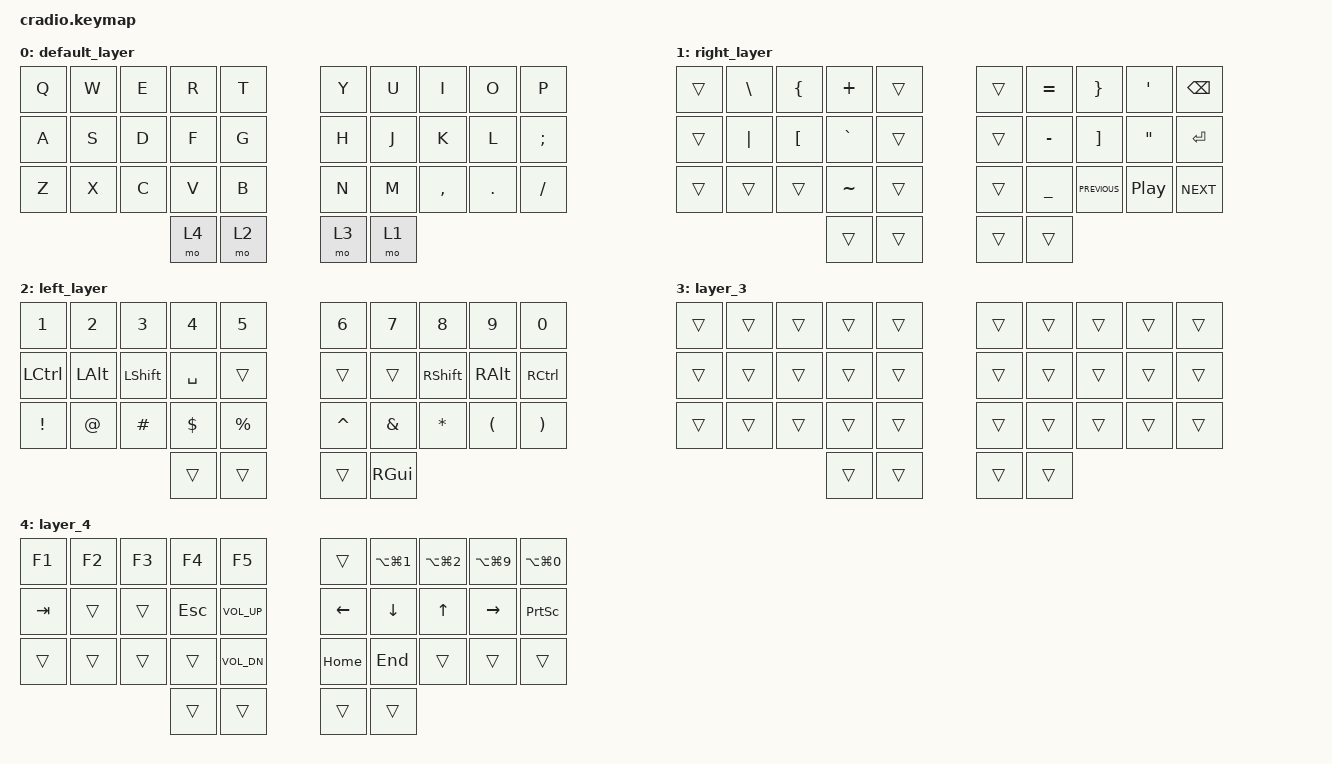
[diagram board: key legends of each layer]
// Copyright (c) 2022 The ZMK Contributors
// SPDX-License-Identifier: MIT

#include <behaviors.dtsi>
#include <dt-bindings/zmk/keys.h>

/ {
    behaviors {
        ht: hold_tap {
            label = "hold_tap";
            compatible = "zmk,behavior-hold-tap";
            #binding-cells = <2>;
            flavor = "hold-preferred";
            tapping-term-ms = <220>;
            quick-tap-ms = <150>;
            global-quick-tap;
            bindings = <&kp>, <&kp>;
        };
    };

    conditional_layers {
        compatible = "zmk,conditional-layers";

        tri_layer {
            if-layers = <1 2>;
            then-layer = <3>;
        };
    };

    keymap {
        compatible = "zmk,keymap";

        default_layer {
            bindings = <
&kp Q  &kp W  &kp E  &kp R  &kp T    &kp Y  &kp U  &kp I      &kp O    &kp P
&kp A  &kp S  &kp D  &kp F  &kp G    &kp H  &kp J  &kp K      &kp L    &kp SEMICOLON
&kp Z  &kp X  &kp C  &kp V  &kp B    &kp N  &kp M  &kp COMMA  &kp DOT  &kp FSLH
                     &mo 4  &mo 2    &mo 3  &mo 1
            >;
        };

        right_layer {
            bindings = <
&trans  &kp BACKSLASH  &kp LEFT_BRACE    &kp PLUS   &trans    &trans  &kp EQUAL       &kp RIGHT_BRACE    &kp SQT            &kp BACKSPACE
&trans  &kp PIPE       &kp LEFT_BRACKET  &kp GRAVE  &trans    &trans  &kp MINUS       &kp RIGHT_BRACKET  &kp DOUBLE_QUOTES  &kp ENTER
&trans  &trans         &trans            &kp TILDE  &trans    &trans  &kp UNDERSCORE  &kp C_PREVIOUS     &kp C_PLAY_PAUSE   &kp C_NEXT
                                         &trans     &trans    &trans  &trans
            >;
        };

        left_layer {
            bindings = <
&kp NUMBER_1      &kp NUMBER_2  &kp NUMBER_3    &kp NUMBER_4  &kp NUMBER_5    &kp NUMBER_6  &kp NUMBER_7   &kp NUMBER_8     &kp NUMBER_9          &kp NUMBER_0
&kp LEFT_CONTROL  &kp LEFT_ALT  &kp LEFT_SHIFT  &kp SPACE     &trans          &trans        &trans         &kp RIGHT_SHIFT  &kp RIGHT_ALT         &kp RIGHT_CONTROL
&kp EXCLAMATION   &kp AT_SIGN   &kp HASH        &kp DOLLAR    &kp PERCENT     &kp CARET     &kp AMPERSAND  &kp ASTERISK     &kp LEFT_PARENTHESIS  &kp RIGHT_PARENTHESIS
                                                &trans        &trans          &trans        &kp RIGHT_GUI
            >;
        };

        layer_3 {
            bindings = <
&trans  &trans  &trans  &trans  &trans    &trans  &trans  &trans  &trans  &trans
&trans  &trans  &trans  &trans  &trans    &trans  &trans  &trans  &trans  &trans
&trans  &trans  &trans  &trans  &trans    &trans  &trans  &trans  &trans  &trans
                        &trans  &trans    &trans  &trans
            >;
        };

        layer_4 {
            bindings = <
&kp F1   &kp F2  &kp F3  &kp F4   &kp F5             &trans          &kp LA(LG(NUMBER_1))  &kp LA(LG(NUMBER_2))  &kp LA(LG(NUMBER_9))  &kp LA(LG(NUMBER_0))
&kp TAB  &trans  &trans  &kp ESC  &kp C_VOLUME_UP    &kp LEFT_ARROW  &kp DOWN_ARROW        &kp UP_ARROW          &kp RIGHT_ARROW       &kp PRINTSCREEN
&trans   &trans  &trans  &trans   &kp C_VOL_DN       &kp HOME        &kp END               &trans                &trans                &trans
                         &trans   &trans             &trans          &trans
            >;
        };
    };
};
